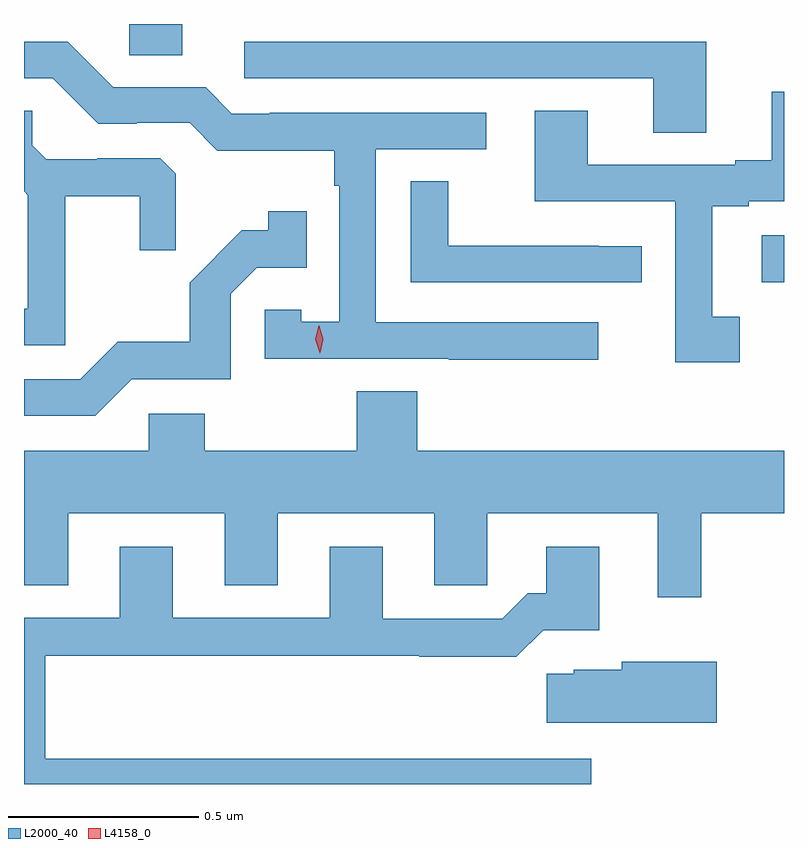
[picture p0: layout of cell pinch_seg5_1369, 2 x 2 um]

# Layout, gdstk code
import gdstk
lib = gdstk.Library(unit=1e-6, precision=1e-09)
def R(c, l, rs):  # rectangles x0, y0, x1, y1
    for r in rs: c.add(gdstk.rectangle(r[:2], r[2:], *l))
def P(c, l, *ps):  # polygons
    for p in ps: c.add(gdstk.Polygon(p, *l))
L2000_40 = (2000, 40)
L4158_0 = (4158, 0)

pinch_seg5_1369 = lib.new_cell('pinch_seg5_1369')
R(pinch_seg5_1369, L2000_40, [(311.475,894.663,311.533,894.787), (309.81,895.261,309.949,895.343)])
P(pinch_seg5_1369, L2000_40, [(311.044,894.558),(310.458,894.558),(310.458,895.014),(310.75,895.014),(310.75,895.11),(310.18,895.11),(310.18,895.107),(310.08,895.107),(310.011,895.176),(309.768,895.176),(309.648,895.296),(309.533,895.296),(309.533,895.2),(309.609,895.2),(309.729,895.08),(309.83,895.08),(309.83,895.083),(309.969,895.083),(310.042,895.01),(310.35,895.01),(310.35,894.917),(310.362,894.917),(310.362,894.559),(310.263,894.559),(310.263,894.591),(310.167,894.591),(310.167,894.462),(310.651,894.462),(310.651,894.46),(311.044,894.46)],
  [(311.329,895.296),(310.113,895.296),(310.113,895.2),(311.189,895.2),(311.189,895.057),(311.329,895.057)],
  [(311.416,894.573),(311.344,894.573),(311.344,894.864),(311.44,894.864),(311.44,894.876),(311.533,894.876),(311.533,895.165),(311.501,895.165),(311.501,894.985),(311.405,894.985),(311.405,894.972),(311.017,894.972),(311.017,895.115),(310.877,895.115),(310.877,894.876),(311.247,894.876),(311.247,894.453),(311.416,894.453)],
  [(309.641,894.89),(309.838,894.89),(309.838,894.747),(309.932,894.747),(309.932,894.949),(309.891,894.99),(309.726,894.99),(309.726,894.987),(309.592,894.987),(309.555,895.024),(309.555,895.115),(309.533,895.115),(309.533,894.903),(309.543,894.893),(309.543,894.594),(309.533,894.594),(309.533,894.498),(309.641,894.498)],
  [(311.158,894.758),(311.045,894.758),(311.045,894.759),(310.65,894.759),(310.65,894.929),(310.551,894.929),(310.551,894.663),(311.158,894.663)],
  [(309.816,894.408),(310.077,894.408),(310.077,894.633),(310.146,894.702),(310.277,894.702),(310.277,894.85),(310.176,894.85),(310.176,894.8),(310.106,894.8),(309.969,894.662),(309.969,894.507),(309.78,894.507),(309.681,894.408),(309.533,894.408),(309.533,894.312),(309.72,894.312)],
  [(311.315,894.056),(311.533,894.056),(311.533,894.22),(310.568,894.22),(310.568,894.377),(310.408,894.377),(310.408,894.22),(310.008,894.22),(310.008,894.318),(309.861,894.318),(309.861,894.22),(309.533,894.22),(309.533,893.866),(309.649,893.866),(309.649,894.056),(310.061,894.056),(310.061,893.866),(310.201,893.866),(310.201,894.056),(310.613,894.056),(310.613,893.866),(310.752,893.866),(310.752,894.056),(311.201,894.056),(311.201,893.835),(311.315,893.835)],
  [(311.026,893.41),(309.589,893.41),(309.589,893.68),(310.573,893.68),(310.573,893.678),(310.829,893.678),(310.899,893.748),(311.047,893.748),(311.047,893.968),(310.907,893.968),(310.907,893.845),(310.858,893.845),(310.791,893.778),(310.477,893.778),(310.477,893.968),(310.337,893.968),(310.337,893.781),(309.925,893.781),(309.925,893.968),(309.785,893.968),(309.785,893.781),(309.533,893.781),(309.533,893.343),(311.026,893.343)],
  [(311.356,893.665),(311.106,893.665),(311.106,893.644),(310.98,893.644),(310.98,893.633),(310.908,893.633),(310.908,893.504),(311.356,893.504)])
P(pinch_seg5_1369, L4158_0, [(310.311,894.477),(310.311,894.478),(310.3,894.513),(310.309,894.549),(310.31,894.549),(310.31,894.549),(310.32,894.513),(310.312,894.478)])

lib.write_gds('pinch_seg5_1369.gds')
